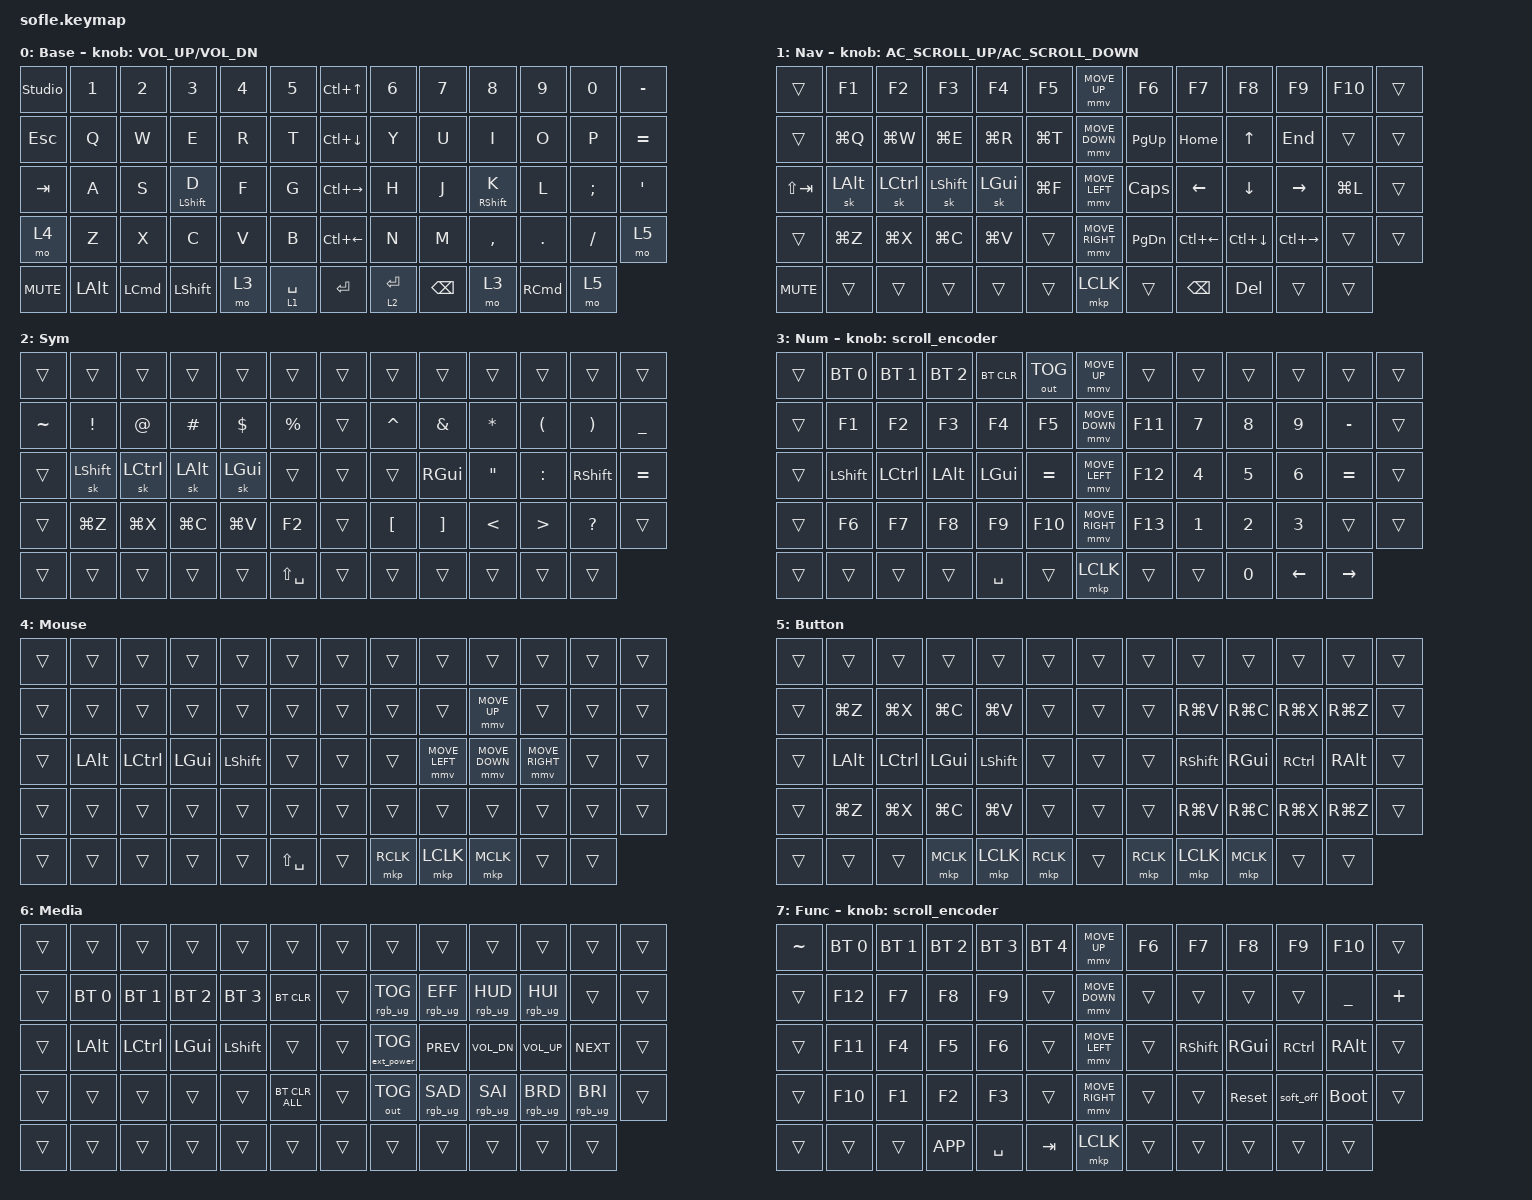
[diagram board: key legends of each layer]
#include <behaviors/mouse_keys.dtsi>
#include <dt-bindings/zmk/mouse.h>
#include <behaviors.dtsi>
#include <dt-bindings/zmk/bt.h>
#include <dt-bindings/zmk/ext_power.h>
#include <dt-bindings/zmk/keys.h>
#include <dt-bindings/zmk/outputs.h>
#include <dt-bindings/zmk/pointing.h>
#include <dt-bindings/zmk/pointing.h>
#include <dt-bindings/zmk/pointing.h>
#include <dt-bindings/zmk/rgb.h>

#define ZMK_MOUSE_DEFAULT_MOVE_VAL 1200  // 600
#define ZMK_MOUSE_DEFAULT_SCRL_VAL 20    // 10
#define U_MS_U &mmv MOVE_UP
#define U_MS_D &mmv MOVE_DOWN
#define U_MS_L &mmv MOVE_LEFT
#define U_MS_R &mmv MOVE_RIGHT
#define ZMK_MOUSE_DEFAULT_MOVE_VAL 1200  //  600
#define ZMK_MOUSE_DEFAULT_SCRL_VAL 100    // 10

/ {
    behaviors {
        mmv {
            acceleration-exponent = <1>;      // 1
            time-to-max-speed-ms = <900>;    // 40
            delay-ms = <0>;                   // 0
        };

        msc {
            acceleration-exponent = <1>;      // 0
            time-to-max-speed-ms = <400>;      // 500
            delay-ms = <0>;                   //   10
        };

        hm: homerow_mods {
            compatible = "zmk,behavior-hold-tap";
            #binding-cells = <2>;
            tapping-term-ms = <200>;
            quick-tap-ms = <175>;
            flavor = "tap-preferred";
            bindings = <&kp>, <&kp>;
        };

        hl: Homerow_layer {
            compatible = "zmk,behavior-hold-tap";
            bindings = <&mo>, <&kp>;

            #binding-cells = <2>;
            flavor = "balanced";
            tapping-term-ms = <200>;
            quick-tap-ms = <175>;
        };
    };

    scroll_encoder: scroll_encoder {
        compatible = "zmk,behavior-sensor-rotate";
        #sensor-binding-cells = <0>;
        bindings = <&msc SCRL_DOWN>, <&msc SCRL_UP>;

        tap-ms = <30>;
    };

    combos {
        compatible = "zmk,combos";

        change_lang {
            bindings = <&kp LS(SPACE)>;
            key-positions = <27 56>;
        };
    };

    macros {
        new_macro: new_macro {
            compatible = "zmk,behavior-macro";
            #binding-cells = <0>;
            bindings = <&none>;
            label = "NEW_MACRO";
        };
    };

    keymap {
        compatible = "zmk,keymap";

        Base {
            bindings = <
&studio_unlock  &kp N1        &kp N2            &kp N3       &kp N4  &kp N5         &kp LC(UP)     &kp N6        &kp N7         &kp N8       &kp N9             &kp N0     &kp MINUS
&kp ESCAPE      &kp Q         &kp W             &kp E        &kp R   &kp T          &kp LC(DOWN)   &kp Y         &kp U          &kp I        &kp O              &kp P      &kp EQUAL
&kp TAB         &kp A         &kp S             &hm LSHFT D  &kp F   &kp G          &kp LC(RIGHT)  &kp H         &kp J          &hm RSHFT K  &kp L              &kp SEMI   &kp APOS
&mo 4           &kp Z         &kp X             &kp C        &kp V   &kp B          &kp LC(LEFT)   &kp N         &kp M          &kp COMMA    &kp DOT            &kp SLASH  &mo 5
&kp C_MUTE      &kp LEFT_ALT  &kp LEFT_COMMAND  &kp LSHFT    &mo 3   &hl 1 SPACE    &kp ENTER      &hl 2 RETURN  &kp BACKSPACE  &mo 3        &kp RIGHT_COMMAND  &mo 5
            >;

            sensor-bindings = <&inc_dec_kp C_VOL_UP C_VOL_DN>;
            display-name = "Base";
        };

        Nav {
            bindings = <
&trans       &kp F1     &kp F2     &kp F3     &kp F4     &kp F5       &mmv MOVE_UP     &kp F6        &kp F7         &kp F8        &kp F9         &kp F10    &trans
&trans       &kp LG(Q)  &kp LG(W)  &kp LG(E)  &kp LG(R)  &kp LG(T)    &mmv MOVE_DOWN   &kp PG_UP     &kp HOME       &kp UP        &kp END        &trans     &trans
&kp LS(TAB)  &sk LALT   &sk LCTRL  &sk LSHFT  &sk LGUI   &kp LG(F)    &mmv MOVE_LEFT   &kp CAPSLOCK  &kp LEFT       &kp DOWN      &kp RIGHT      &kp LG(L)  &trans
&trans       &kp LG(Z)  &kp LG(X)  &kp LG(C)  &kp LG(V)  &trans       &mmv MOVE_RIGHT  &kp PG_DN     &kp LC(LEFT)   &kp LC(DOWN)  &kp LC(RIGHT)  &trans     &trans
&kp C_MUTE   &trans     &trans     &trans     &trans     &trans       &mkp LCLK        &trans        &kp BACKSPACE  &kp DELETE    &trans         &trans
            >;

            display-name = "Nav";
            sensor-bindings = <&inc_dec_kp C_AC_SCROLL_UP C_AC_SCROLL_DOWN>;
        };

        Sym {
            bindings = <
&trans     &trans     &trans     &trans     &trans     &trans           &trans  &trans            &trans             &trans             &trans     &trans     &trans
&kp TILDE  &kp EXCL   &kp AT     &kp HASH   &kp DLLR   &kp PRCNT        &trans  &kp CARET         &kp AMPS           &kp STAR           &kp LPAR   &kp RPAR   &kp UNDERSCORE
&trans     &sk LSHFT  &sk LCTRL  &sk LALT   &sk LGUI   &trans           &trans  &trans            &kp RGUI           &kp DOUBLE_QUOTES  &kp COLON  &kp RSHFT  &kp EQUAL
&trans     &kp LG(Z)  &kp LG(X)  &kp LG(C)  &kp LG(V)  &kp F2           &trans  &kp LEFT_BRACKET  &kp RIGHT_BRACKET  &kp LT             &kp GT     &kp QMARK  &trans
&trans     &trans     &trans     &trans     &trans     &kp LS(SPACE)    &trans  &trans            &trans             &trans             &trans     &trans
            >;

            label = "Sym";
        };

        Num {
            bindings = <
&trans  &bt BT_SEL 0  &bt BT_SEL 1  &bt BT_SEL 2  &bt BT_CLR  &out OUT_TOG    &mmv MOVE_UP     &trans   &trans  &trans  &trans    &trans     &trans
&trans  &kp F1        &kp F2        &kp F3        &kp F4      &kp F5          &mmv MOVE_DOWN   &kp F11  &kp N7  &kp N8  &kp N9    &kp MINUS  &trans
&trans  &kp LSHFT     &kp LCTRL     &kp LALT      &kp LGUI    &kp EQUAL       &mmv MOVE_LEFT   &kp F12  &kp N4  &kp N5  &kp N6    &kp EQUAL  &trans
&trans  &kp F6        &kp F7        &kp F8        &kp F9      &kp F10         &mmv MOVE_RIGHT  &kp F13  &kp N1  &kp N2  &kp N3    &trans     &trans
&trans  &trans        &trans        &trans        &kp SPACE   &trans          &mkp LCLK        &trans   &trans  &kp N0  &kp LEFT  &kp RIGHT
            >;

            sensor-bindings = <&scroll_encoder>;
            label = "Num";
        };

        Mouse {
            bindings = <
&trans  &trans    &trans     &trans    &trans      &trans           &trans  &trans     &trans          &trans          &trans           &trans  &trans
&trans  &trans    &trans     &trans    &trans      &trans           &trans  &trans     &trans          &mmv MOVE_UP    &trans           &trans  &trans
&trans  &kp LALT  &kp LCTRL  &kp LGUI  &kp LSHIFT  &trans           &trans  &trans     &mmv MOVE_LEFT  &mmv MOVE_DOWN  &mmv MOVE_RIGHT  &trans  &trans
&trans  &trans    &trans     &trans    &trans      &trans           &trans  &trans     &trans          &trans          &trans           &trans  &trans
&trans  &trans    &trans     &trans    &trans      &kp LS(SPACE)    &trans  &mkp RCLK  &mkp LCLK       &mkp MCLK       &trans           &trans
            >;

            label = "Mouse";
        };

        Button {
            bindings = <
&trans  &trans     &trans     &trans     &trans     &trans       &trans  &trans     &trans     &trans     &trans     &trans     &trans
&trans  &kp LG(Z)  &kp LG(X)  &kp LG(C)  &kp LG(V)  &trans       &trans  &trans     &kp RG(V)  &kp RG(C)  &kp RG(X)  &kp RG(Z)  &trans
&trans  &kp LALT   &kp LCTRL  &kp LGUI   &kp LSHFT  &trans       &trans  &trans     &kp RSHFT  &kp RGUI   &kp RCTRL  &kp RALT   &trans
&trans  &kp LG(Z)  &kp LG(X)  &kp LG(C)  &kp LG(V)  &trans       &trans  &trans     &kp RG(V)  &kp RG(C)  &kp RG(X)  &kp RG(Z)  &trans
&trans  &trans     &trans     &mkp MCLK  &mkp LCLK  &mkp RCLK    &trans  &mkp RCLK  &mkp LCLK  &mkp MCLK  &trans     &trans
            >;

            label = "Button";
        };

        Media {
            bindings = <
&trans  &trans        &trans        &trans        &trans        &trans            &trans  &trans             &trans           &trans           &trans           &trans           &trans
&trans  &bt BT_SEL 0  &bt BT_SEL 1  &bt BT_SEL 2  &bt BT_SEL 3  &bt BT_CLR        &trans  &rgb_ug RGB_TOG    &rgb_ug RGB_EFF  &rgb_ug RGB_HUD  &rgb_ug RGB_HUI  &trans           &trans
&trans  &kp LALT      &kp LCTRL     &kp LGUI      &kp LSHFT     &trans            &trans  &ext_power EP_TOG  &kp C_PREV       &kp C_VOL_DN     &kp C_VOL_UP     &kp C_NEXT       &trans
&trans  &trans        &trans        &trans        &trans        &bt BT_CLR_ALL    &trans  &out OUT_TOG       &rgb_ug RGB_SAD  &rgb_ug RGB_SAI  &rgb_ug RGB_BRD  &rgb_ug RGB_BRI  &trans
&trans  &trans        &trans        &trans        &trans        &trans            &trans  &trans             &trans           &trans           &trans           &trans
            >;

            label = "Media";
        };

        Func {
            bindings = <
&kp TILDE  &bt BT_SEL 0  &bt BT_SEL 1  &bt BT_SEL 2  &bt BT_SEL 3  &bt BT_SEL 4    &mmv MOVE_UP     &kp F6  &kp F7     &kp F8      &kp F9     &kp F10      &trans
&trans     &kp F12       &kp F7        &kp F8        &kp F9        &trans          &mmv MOVE_DOWN   &trans  &trans     &trans      &trans     &kp UNDER    &kp PLUS
&trans     &kp F11       &kp F4        &kp F5        &kp F6        &trans          &mmv MOVE_LEFT   &trans  &kp RSHFT  &kp RGUI    &kp RCTRL  &kp RALT     &trans
&trans     &kp F10       &kp F1        &kp F2        &kp F3        &trans          &mmv MOVE_RIGHT  &trans  &trans     &sys_reset  &soft_off  &bootloader  &trans
&trans     &trans        &trans        &kp K_APP     &kp SPACE     &kp TAB         &mkp LCLK        &trans  &trans     &trans      &trans     &trans
            >;

            sensor-bindings = <&scroll_encoder>;
            label = "Func";
        };
    };
};
